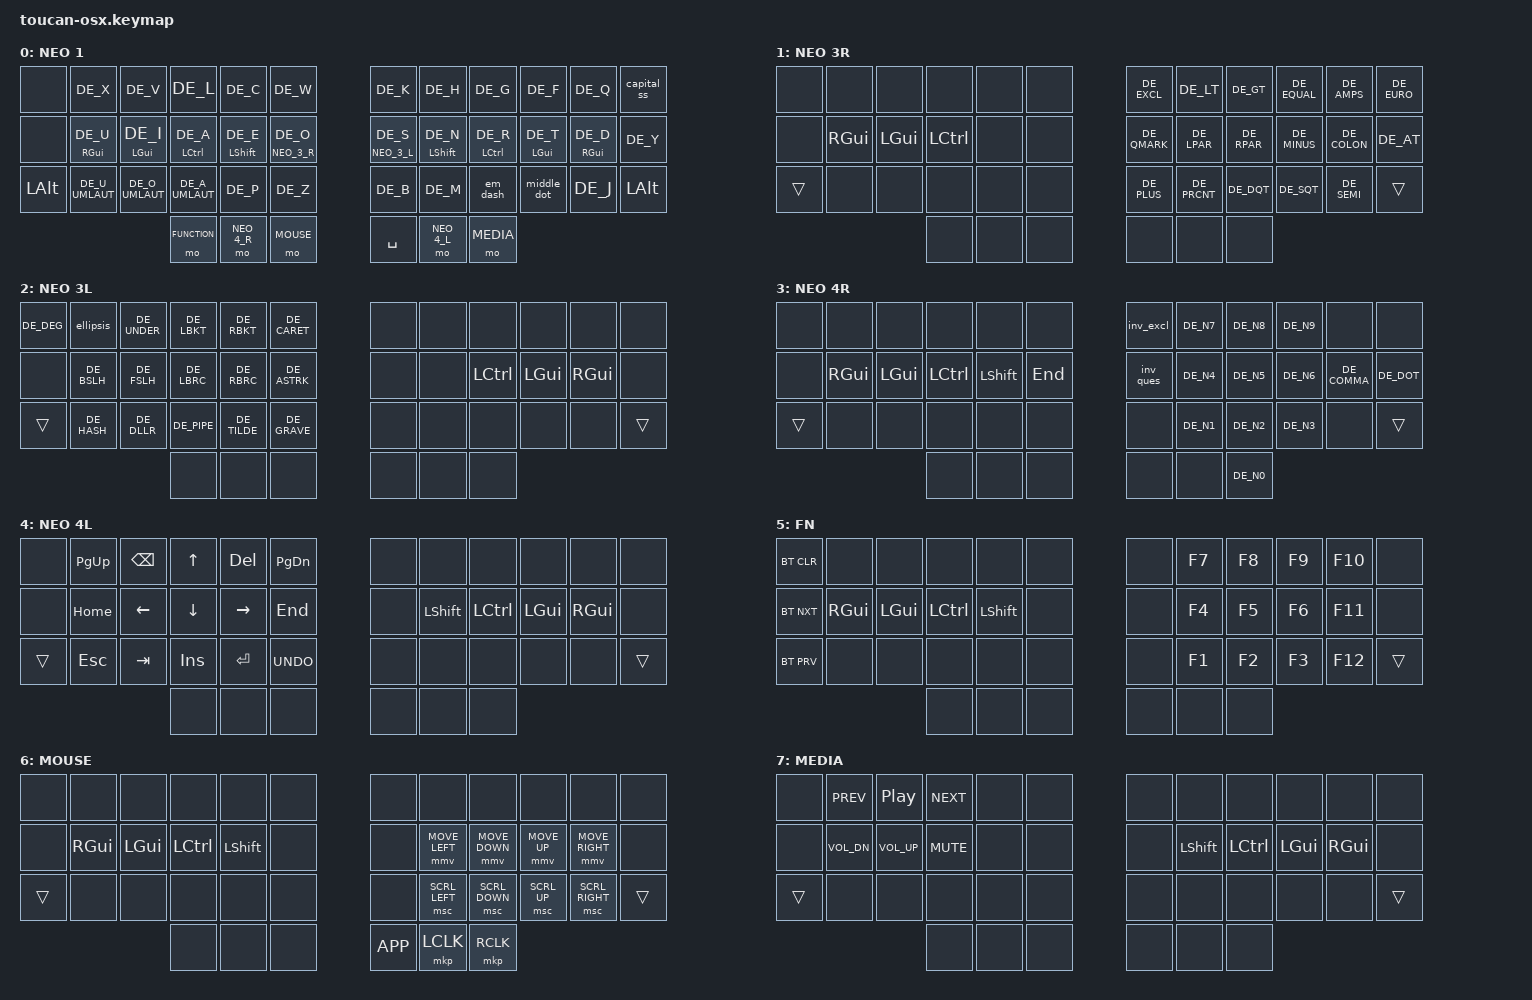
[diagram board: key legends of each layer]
#define ZMK_POINTING_DEFAULT_MOVE_VAL 1500  // default: 600
#define ZMK_POINTING_DEFAULT_SCRL_VAL 20    // default: 10

#include <behaviors.dtsi>
#include <dt-bindings/zmk/keys.h>
#include <dt-bindings/zmk/bt.h>
#include <dt-bindings/zmk/outputs.h>
#include <dt-bindings/zmk/mouse.h>
#include <dt-bindings/zmk/bt.h>
#include "de-osx.h"

// Layer definitions
#define NEO_1     0
#define NEO_3_R   1
#define NEO_3_L   2
#define NEO_4_R   3
#define NEO_4_L   4
#define FUNCTION  5
#define MOUSE     6
#define MEDIA     7

/ {
    behaviors {
        // Home row mods with 200ms tapping term (matching QMK config)
        hm_l: homerow_mods_left {
            compatible = "zmk,behavior-hold-tap";
            #binding-cells = <2>;
            tapping-term-ms = <200>;
            quick-tap-ms = <0>;
            flavor = "tap-preferred";
            bindings = <&kp>, <&kp>;
            hold-trigger-key-positions = <6 7 8 9 10 11 18 19 20 21 22 23 30 31 32 33 34 35 39 40 41>; // right hand + right thumbs only
        };

        hm_r: homerow_mods_right {
            compatible = "zmk,behavior-hold-tap";
            #binding-cells = <2>;
            tapping-term-ms = <200>;
            quick-tap-ms = <0>;
            flavor = "tap-preferred";
            bindings = <&kp>, <&kp>;
            hold-trigger-key-positions = <0 1 2 3 4 5 12 13 14 15 16 17 24 25 26 27 28 29 36 37 38>; // left hand + left thumbs only
        };

        // Layer-tap behavior for Neo3 layers
        lt_neo3: layer_tap_neo3 {
            compatible = "zmk,behavior-hold-tap";
            #binding-cells = <2>;
            tapping-term-ms = <200>;
            quick-tap-ms = <0>;
            flavor = "tap-preferred";
            bindings = <&mo>, <&kp>;
        };

        // Mod-morph for em dash (Shift + comma → –)
        em_dash: em_dash {
            compatible = "zmk,behavior-mod-morph";
            #binding-cells = <0>;
            bindings = <&kp DE_COMMA>, <&kp RA(DE_MINUS)>;
            mods = <(MOD_LSFT|MOD_RSFT)>;
        };

        // Mod-morph for middle dot (Shift + dot → ·)
        middle_dot: middle_dot {
            compatible = "zmk,behavior-mod-morph";
            #binding-cells = <0>;
            bindings = <&kp DE_DOT>, <&kp LS(RA(DE_DOT))>;
            mods = <(MOD_LSFT|MOD_RSFT)>;
        };

        // Mod-morph for capital ß (Shift + ß → ẞ)
        capital_ss: capital_ss {
            compatible = "zmk,behavior-mod-morph";
            #binding-cells = <0>;
            bindings = <&kp DE_SZ>, <&kp LS(RA(S))>;
            mods = <(MOD_LSFT|MOD_RSFT)>;
        };
    };

    macros {
        // Macro for … (ellipsis)
        ellipsis: ellipsis {
            compatible = "zmk,behavior-macro";
            #binding-cells = <0>;
            bindings = <&kp RA(DE_DOT)>;
        };

        // Macro for ¡ (inverted exclamation)
        inv_excl: inv_excl {
            compatible = "zmk,behavior-macro";
            #binding-cells = <0>;
            bindings = <&kp LS(RA(N1))>;
        };

        // Macro for ¿ (inverted question mark)
        inv_ques: inv_ques {
            compatible = "zmk,behavior-macro";
            #binding-cells = <0>;
            bindings = <&kp LS(RA(DE_SZ))>;
        };
    };

    keymap {
        compatible = "zmk,keymap";

        // NEO Layer 1 (Base)
        neo_1 {
            display-name = "NEO 1";
            bindings = <
                &none       &kp DE_X        &kp DE_V        &kp DE_L        &kp DE_C        &kp DE_W                        &kp DE_K            &kp DE_H            &kp DE_G            &kp DE_F        &kp DE_Q        &capital_ss
                &none       &hm_l RGUI DE_U &hm_l LGUI DE_I &hm_l LCTRL DE_A &hm_l LSHFT DE_E &lt_neo3 NEO_3_R DE_O         &lt_neo3 NEO_3_L DE_S &hm_r LSHFT DE_N  &hm_r LCTRL DE_R    &hm_r LGUI DE_T &hm_r RGUI DE_D &kp DE_Y
                &kp LALT    &kp DE_U_UMLAUT &kp DE_O_UMLAUT &kp DE_A_UMLAUT &kp DE_P        &kp DE_Z                        &kp DE_B            &kp DE_M            &em_dash            &middle_dot     &kp DE_J        &kp LALT
                                                            &mo FUNCTION    &mo NEO_4_R     &mo MOUSE                       &kp SPACE           &mo NEO_4_L         &mo MEDIA
            >;
        };

        // NEO Layer 3 Right (activated by holding O)
        neo_3_r {
            display-name = "NEO 3R";
            bindings = <
                &none       &none           &none           &none           &none           &none                           &kp DE_EXCL         &kp DE_LT           &kp DE_GT           &kp DE_EQUAL    &kp DE_AMPS     &kp DE_EURO
                &none       &kp RGUI        &kp LGUI        &kp LCTRL       &none           &none                           &kp DE_QMARK        &kp DE_LPAR         &kp DE_RPAR         &kp DE_MINUS    &kp DE_COLON    &kp DE_AT
                &trans      &none           &none           &none           &none           &none                           &kp DE_PLUS         &kp DE_PRCNT        &kp DE_DQT          &kp DE_SQT      &kp DE_SEMI     &trans
                                                            &none           &none           &none                           &none               &none               &none
            >;
        };

        // NEO Layer 3 Left (activated by holding S)
        neo_3_l {
            display-name = "NEO 3L";
            bindings = <
                &kp DE_DEG  &ellipsis       &kp DE_UNDER    &kp DE_LBKT     &kp DE_RBKT     &kp DE_CARET                    &none               &none               &none               &none           &none           &none
                &none       &kp DE_BSLH     &kp DE_FSLH     &kp DE_LBRC     &kp DE_RBRC     &kp DE_ASTRK                    &none               &none               &kp LCTRL           &kp LGUI        &kp RGUI        &none
                &trans      &kp DE_HASH     &kp DE_DLLR     &kp DE_PIPE     &kp DE_TILDE    &kp DE_GRAVE                    &none               &none               &none               &none           &none           &trans
                                                            &none           &none           &none                           &none               &none               &none
            >;
        };

        // NEO Layer 4 Right (activated by left thumb, note the cross-activation)
        neo_4_r {
            display-name = "NEO 4R";
            bindings = <
                &none       &none           &none           &none           &none           &none                           &inv_excl           &kp DE_N7           &kp DE_N8           &kp DE_N9       &none           &none
                &none       &kp RGUI        &kp LGUI        &kp LCTRL       &kp LSHFT       &kp END                         &inv_ques           &kp DE_N4           &kp DE_N5           &kp DE_N6       &kp DE_COMMA    &kp DE_DOT
                &trans      &none           &none           &none           &none           &none                           &none               &kp DE_N1           &kp DE_N2           &kp DE_N3       &none           &trans
                                                            &none           &none           &none                           &none               &none               &kp DE_N0
            >;
        };

        // NEO Layer 4 Left (activated by right thumb, note the cross-activation)
        neo_4_l {
            display-name = "NEO 4L";
            bindings = <
                &none       &kp PG_UP       &kp BSPC        &kp UP          &kp DEL         &kp PG_DN                       &none               &none               &none               &none           &none           &none
                &none       &kp HOME        &kp LEFT        &kp DOWN        &kp RIGHT       &kp END                         &none               &kp LSHFT           &kp LCTRL           &kp LGUI        &kp RGUI        &none
                &trans      &kp ESC         &kp TAB         &kp INS         &kp RET         &kp K_UNDO                      &none               &none               &none               &none           &none           &trans
                                                            &none           &none           &none                           &none               &none               &none
            >;
        };

        // Function layer
        function {
            display-name = "FN";
            bindings = <
                &bt BT_CLR  &none           &none           &none           &none           &none                           &none               &kp F7              &kp F8              &kp F9          &kp F10         &none
                &bt BT_NXT  &kp RGUI        &kp LGUI        &kp LCTRL       &kp LSHFT       &none                           &none               &kp F4              &kp F5              &kp F6          &kp F11         &none
                &bt BT_PRV  &none           &none           &none           &none           &none                           &none               &kp F1              &kp F2              &kp F3          &kp F12         &trans
                                                            &none           &none           &none                           &none               &none               &none
            >;
        };

        // Mouse layer
        mouse {
            display-name = "MOUSE";
            bindings = <
                &none       &none           &none           &none           &none           &none                           &none               &none               &none               &none           &none           &none
                &none       &kp RGUI        &kp LGUI        &kp LCTRL       &kp LSHFT       &none                           &none               &mmv MOVE_LEFT      &mmv MOVE_DOWN      &mmv MOVE_UP    &mmv MOVE_RIGHT &none
                &trans      &none           &none           &none           &none           &none                           &none               &msc SCRL_LEFT      &msc SCRL_DOWN      &msc SCRL_UP    &msc SCRL_RIGHT &trans
                                                            &none           &none           &none                           &kp K_APP           &mkp LCLK           &mkp RCLK
            >;
        };

        // Media layer
        media {
            display-name = "MEDIA";
            bindings = <
                &none       &kp C_PREV      &kp C_PP        &kp C_NEXT      &none           &none                           &none               &none               &none               &none           &none           &none
                &none       &kp C_VOL_DN    &kp C_VOL_UP    &kp C_MUTE      &none           &none                           &none               &kp LSHFT           &kp LCTRL           &kp LGUI        &kp RGUI        &none
                &trans      &none           &none           &none           &none           &none                           &none               &none               &none               &none           &none           &trans
                                                            &none           &none           &none                           &none               &none               &none
            >;
        };
    };
};
